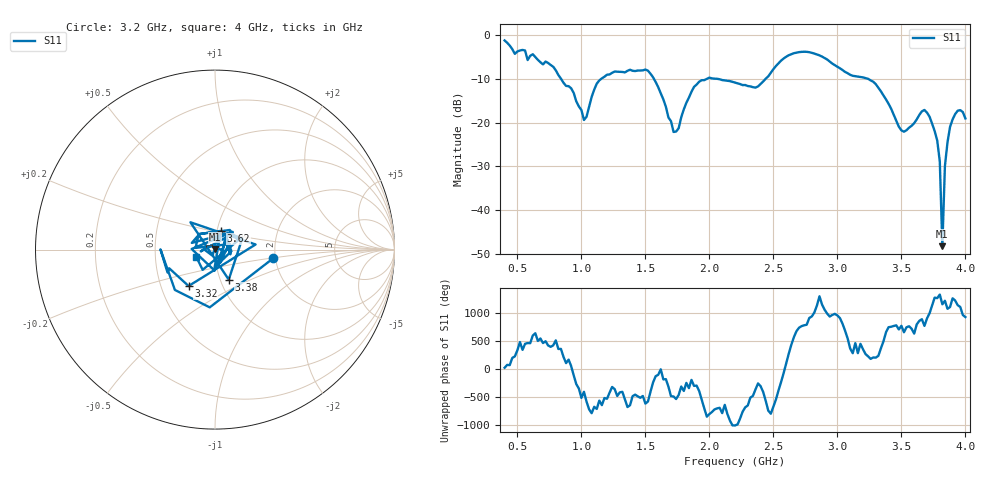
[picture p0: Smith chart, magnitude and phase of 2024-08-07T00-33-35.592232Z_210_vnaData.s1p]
!Created with skrf (http://scikit-rf.org).
# Hz S RI R 50.0
!freq ReS11 ImS11
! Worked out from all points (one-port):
!   181 points, 400 MHz to 4 GHz, reference 50 ohm
!   lowest |S11| = -48.2 dB at 3.82 GHz (marker M1), VSWR 1.01, Z = 50.1 + j0.362 ohm
!   |S11| at or under -10 dB: 1.567 GHz to 1.979 GHz (412 MHz wide, 23.2 % of centre); 2.066 GHz to 2.438 GHz (372.4 MHz wide, 16.5 % of centre); 3.241 GHz to end of sweep (the widest 3 of 4)
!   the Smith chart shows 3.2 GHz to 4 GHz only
!   S11 on the Smith chart (normalised r, x): 3.2 GHz: 1.95, -0.21; 3.32 GHz: 0.69, -0.30; 3.38 GHz: 1.10, -0.38; 3.62 GHz: 1.04, +0.22; 4 GHz: 0.81, -0.07
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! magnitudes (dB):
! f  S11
! 400 MHz  -1.2
! 740 MHz  -6.4
! 860 MHz  -10.9
! 1.02 GHz  -19.4
! 1.12 GHz  -11.1
! 1.3 GHz  -8.4
! 1.52 GHz  -8.1
! 1.72 GHz  -22.1
! 1.76 GHz  -21.3
! 1.92 GHz  -10.6
! 2.2 GHz  -10.8
! 2.38 GHz  -11.7
! 2.66 GHz  -4.1
! 3.1 GHz  -9.1
! 3.2 GHz  -9.7
! 3.32 GHz  -12.0
! 3.38 GHz  -14.7
! 3.5 GHz  -21.8
! 3.56 GHz  -21.1
! 3.62 GHz  -19.2
! 3.7 GHz  -17.7
! 3.78 GHz  -24.1
! 3.8 GHz  -28.9
! 3.82 GHz  -48.2
! 3.84 GHz  -29.9
! 3.88 GHz  -21.0
! 3.94 GHz  -17.3
! 4 GHz  -19.0
